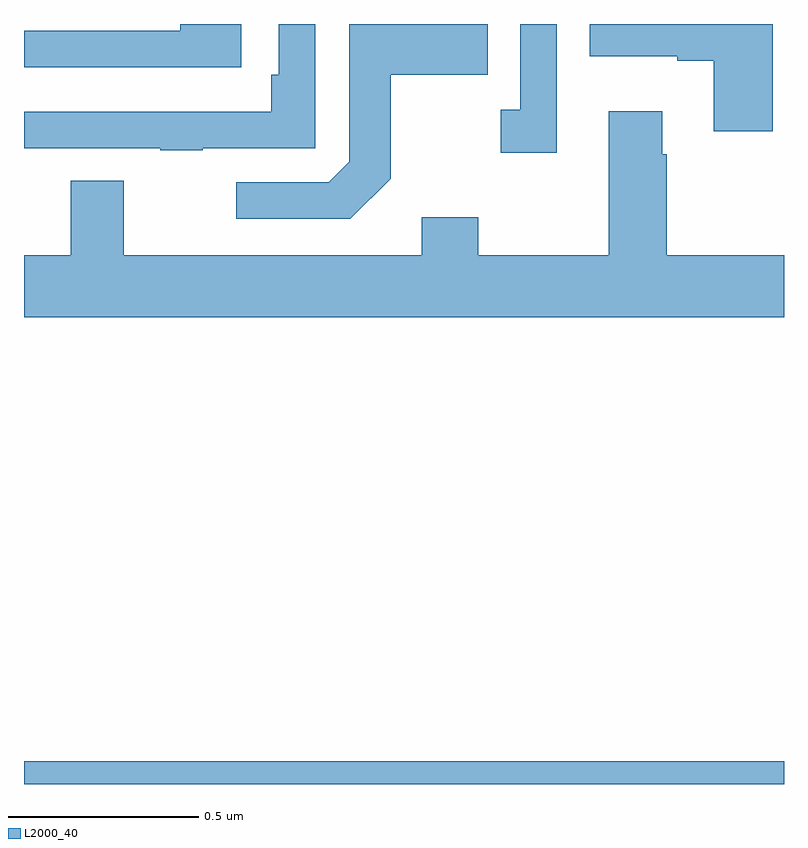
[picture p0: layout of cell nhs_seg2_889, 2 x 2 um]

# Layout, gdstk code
import gdstk
lib = gdstk.Library(unit=1e-6, precision=1e-09)
def R(c, l, rs):  # rectangles x0, y0, x1, y1
    for r in rs: c.add(gdstk.rectangle(r[:2], r[2:], *l))
def P(c, l, *ps):  # polygons
    for p in ps: c.add(gdstk.Polygon(p, *l))
L2000_40 = (2000, 40)

nhs_seg2_889 = lib.new_cell('nhs_seg2_889')
R(nhs_seg2_889, L2000_40, [(122,587.8,124,587.86)])
P(nhs_seg2_889, L2000_40, [(123.97,589.8),(123.489,589.8),(123.489,589.715),(123.719,589.715),(123.719,589.703),(123.815,589.703),(123.815,589.518),(123.97,589.518)],
  [(122.965,589.393),(122.965,589.666),(123.221,589.666),(123.221,589.8),(122.856,589.8),(122.856,589.437),(122.802,589.383),(122.559,589.383),(122.559,589.287),(122.859,589.287)],
  [(122.572,589.8),(122.411,589.8),(122.411,589.782),(122,589.782),(122,589.686),(122.572,589.686)],
  [(122.471,589.473),(122.766,589.473),(122.766,589.8),(122.67,589.8),(122.67,589.666),(122.65,589.666),(122.65,589.569),(122,589.569),(122,589.473),(122.359,589.473),(122.359,589.468),(122.471,589.468)],
  [(123.402,589.8),(123.306,589.8),(123.306,589.574),(123.255,589.574),(123.255,589.461),(123.402,589.461)],
  [(124,589.192),(123.692,589.192),(123.692,589.457),(123.679,589.457),(123.679,589.57),(123.539,589.57),(123.539,589.192),(123.195,589.192),(123.195,589.291),(123.047,589.291),(123.047,589.192),(122.263,589.192),(122.263,589.387),(122.123,589.387),(122.123,589.192),(122,589.192),(122,589.028),(124,589.028)])

lib.write_gds('nhs_seg2_889.gds')
